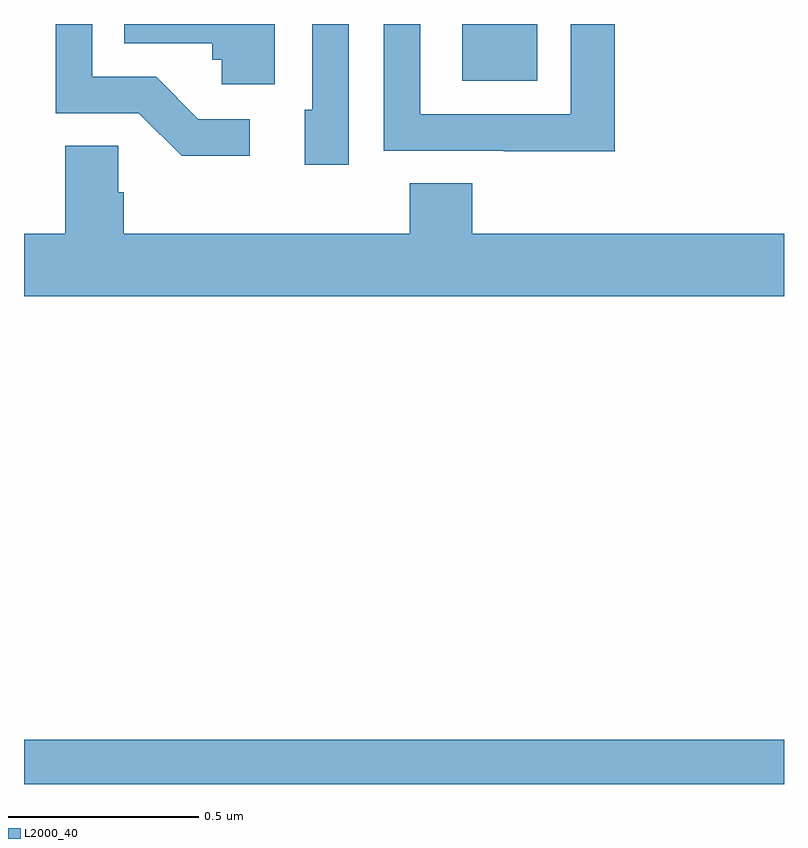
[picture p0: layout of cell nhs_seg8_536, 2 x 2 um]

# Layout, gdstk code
import gdstk
lib = gdstk.Library(unit=1e-6, precision=1e-09)
def R(c, l, rs):  # rectangles x0, y0, x1, y1
    for r in rs: c.add(gdstk.rectangle(r[:2], r[2:], *l))
def P(c, l, *ps):  # polygons
    for p in ps: c.add(gdstk.Polygon(p, *l))
L2000_40 = (2000, 40)

nhs_seg8_536 = lib.new_cell('nhs_seg8_536')
R(nhs_seg8_536, L2000_40, [(118,1097.9,120,1098.016), (119.153,1099.751,119.35,1099.9)])
P(nhs_seg8_536, L2000_40, [(118.854,1099.9),(118.758,1099.9),(118.758,1099.674),(118.739,1099.674),(118.739,1099.53),(118.854,1099.53)],
  [(118.66,1099.9),(118.264,1099.9),(118.264,1099.85),(118.495,1099.85),(118.495,1099.806),(118.521,1099.806),(118.521,1099.742),(118.66,1099.742)],
  [(119.555,1099.9),(119.439,1099.9),(119.439,1099.662),(119.043,1099.662),(119.043,1099.9),(118.947,1099.9),(118.947,1099.566),(119.263,1099.566),(119.263,1099.565),(119.555,1099.565)],
  [(118.594,1099.65),(118.459,1099.65),(118.348,1099.761),(118.179,1099.761),(118.179,1099.9),(118.083,1099.9),(118.083,1099.665),(118.302,1099.665),(118.415,1099.553),(118.594,1099.553)],
  [(120,1099.348),(119.18,1099.348),(119.18,1099.481),(119.015,1099.481),(119.015,1099.348),(118.262,1099.348),(118.262,1099.457),(118.248,1099.457),(118.248,1099.58),(118.109,1099.58),(118.109,1099.348),(118,1099.348),(118,1099.184),(120,1099.184)])

lib.write_gds('nhs_seg8_536.gds')
